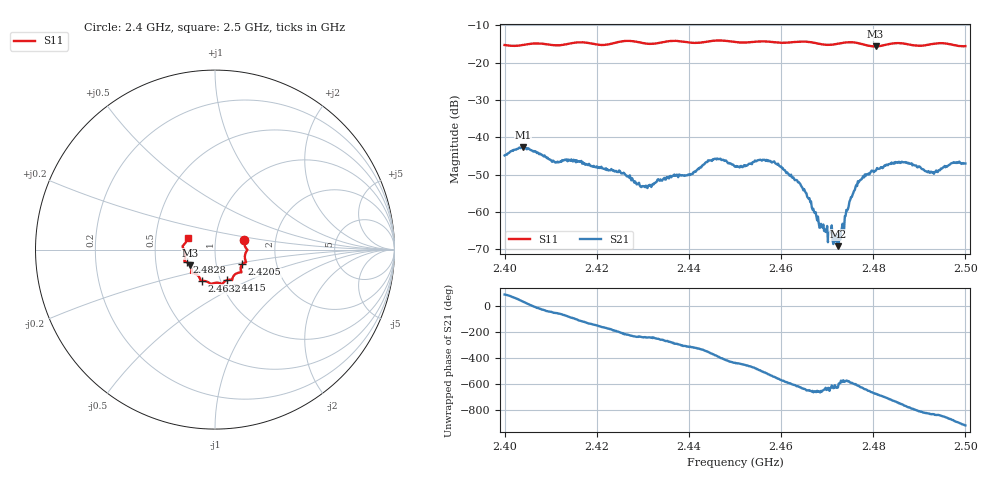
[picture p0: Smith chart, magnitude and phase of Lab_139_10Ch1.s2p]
# Hz S RI R 50
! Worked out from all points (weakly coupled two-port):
!   601 points, 2.4 GHz to 2.5 GHz, reference 50 ohm
!   highest |S21| = -42.60 dB at 2.404 GHz (marker M1); lowest = -69.2 dB at 2.4723 GHz (marker M2)
!   lowest |S11| = -15.7 dB at 2.4805 GHz (marker M3), VSWR 1.39, Z = 37.3 - j6.69 ohm
!   |S11| at or under -10 dB: start of sweep to end of sweep
!   S12 and S22 are empty: the file has one direction only
!   S11 on the Smith chart (normalised r, x): 2.4 GHz: 1.38, +0.15; 2.4205 GHz: 1.34, -0.22; 2.4415 GHz: 1.07, -0.38; 2.4632 GHz: 0.82, -0.29; 2.4828 GHz: 0.72, -0.10; 2.5 GHz: 0.73, +0.10
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2.4e9  0.1635 0.0517  0.000416 0.00569  0 0  0 0
2.404e9  0.1715 0.0103  0.00636 0.00382  0 0  0 0
2.410833e9  0.1686 -0.0238  0.00272 -0.0038  0 0  0 0
2.416667e9  0.1729 -0.0699  -0.00233 -0.00421  0 0  0 0
2.4205e9  0.1521 -0.0816  -0.00367 -0.00154  0 0  0 0
2.43e9  0.1283 -0.1294  -0.00103 0.00197  0 0  0 0
2.433333e9  0.1003 -0.1515  -0.000758 0.00264  0 0  0 0
2.4415e9  0.0656 -0.1705  0.00282 0.002  0 0  0 0
2.445667e9  0.042 -0.1919  0.00479 -0.00184  0 0  0 0
2.45e9  0.0243 -0.1863  0.000854 -0.00395  0 0  0 0
2.457333e9  -0.0278 -0.188  -0.00477 -0.000999  0 0  0 0
2.463167e9  -0.0732 -0.174  -0.000805 0.00255  0 0  0 0
2.466667e9  -0.0822 -0.1669  0.000568 0.001  0 0  0 0
2.468833e9  -0.0898 -0.1503  0.000325 0.000554  0 0  0 0
2.472333e9  -0.1214 -0.1307  -1.1e-05 0.000348  0 0  0 0
2.476333e9  -0.1332 -0.1266  -0.000931 0.00211  0 0  0 0
2.4805e9  -0.1389 -0.0873  0.0025 0.00251  0 0  0 0
2.482833e9  -0.1585 -0.07  0.00419 0.000924  0 0  0 0
2.483333e9  -0.1624 -0.0681  0.00433 0.000462  0 0  0 0
2.487167e9  -0.1688 -0.0543  0.00274 -0.00361  0 0  0 0
2.492667e9  -0.1764 0.00732  -0.00142 -0.00314  0 0  0 0
2.5e9  -0.1528 0.0644  -0.00417 0.00153  0 0  0 0
